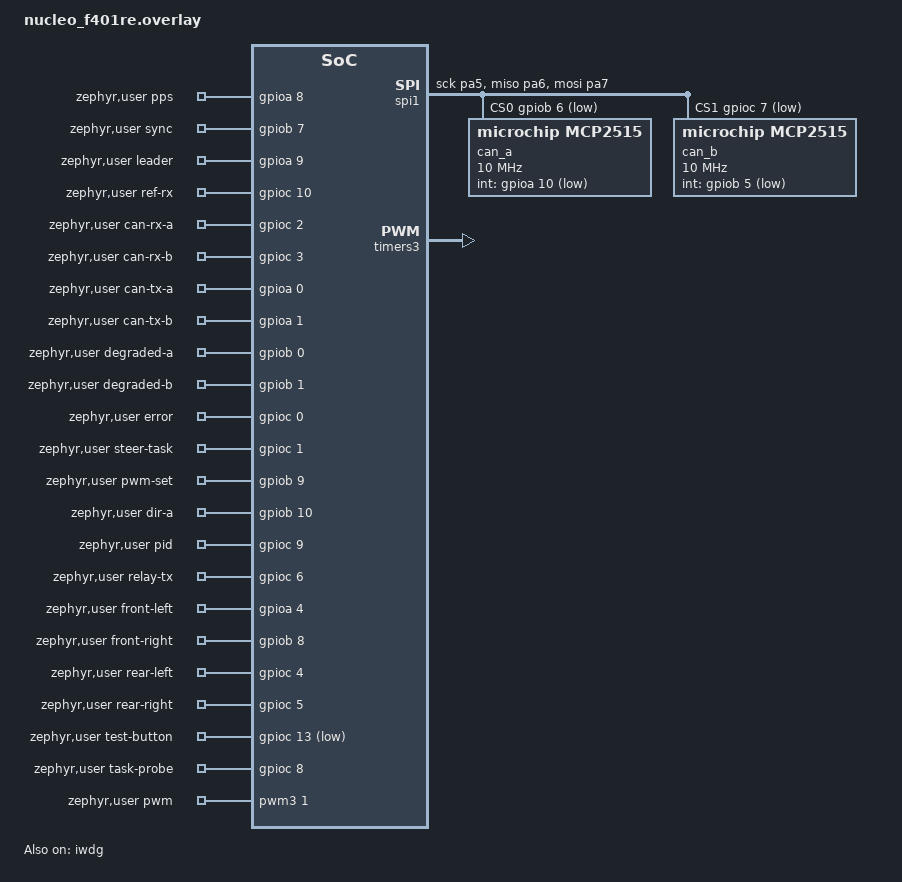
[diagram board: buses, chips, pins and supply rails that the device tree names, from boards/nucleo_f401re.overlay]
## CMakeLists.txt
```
cmake_minimum_required(VERSION 3.28.0)
find_package(Zephyr REQUIRED HINTS $ENV{ZEPHYR_BASE})
project(lab5)
get_filename_component(team_root "${CMAKE_CURRENT_SOURCE_DIR}/../.." ABSOLUTE)
set(lab5 "${team_root}/lab5")
set_property(DIRECTORY APPEND PROPERTY CMAKE_CONFIGURE_DEPENDS "${lab5}/config.json")
execute_process(COMMAND ${PYTHON_EXECUTABLE} "${lab5}/generate_config.py"
    --output "${CMAKE_CURRENT_BINARY_DIR}/lab5_config.h" COMMAND_ERROR_IS_FATAL ANY)
target_include_directories(app PRIVATE "${lab5}/core" "${CMAKE_CURRENT_BINARY_DIR}")
target_sources(app PRIVATE src/lab5_runtime.c "${lab5}/core/lab5.c" "${lab5}/core/clock.c"
    "${lab5}/core/store.c" "${lab5}/core/wire.c" "${lab5}/core/agent.c")
# Reuse the measured baseline's timing instrumentation and workloads, not copies.
set(baseline "${team_root}/lab3_wcet_baseline/lab3_wcet_baseline/stm32_zephyr/src")
target_sources(app PRIVATE src/main.c src/can_protocol.c src/frame_history.c
    src/zone_state.c src/timing_trace.c "${baseline}/timing_stats.c" "${baseline}/timing_probe.c")
target_include_directories(app PRIVATE src "${baseline}")
if(CONFIG_LAB3_ZONE_N3)
    # Lab 2 PID calculation on synthetic samples; no encoder or motor driver.
    set(lab2_pid "${team_root}/bringup/motor_test/src")
    target_sources(app PRIVATE "${baseline}/pid_measurement.c" "${lab2_pid}/velocity_control.c")
    target_include_directories(app PRIVATE "${lab2_pid}")
endif()
if(CONFIG_LAB3_ZONE_N2)
    # Lab 2 calibrated servo mapping from the tracked endpoints.
    set(calibration_file "${team_root}/config/servo_calibration.json")
    set_property(DIRECTORY APPEND PROPERTY CMAKE_CONFIGURE_DEPENDS "${calibration_file}")
    file(READ "${calibration_file}" calibration_json)
    foreach(point LEFT CENTER RIGHT)
        string(TOLOWER "${point}" key)
        string(JSON SERVO_${point}_US GET "${calibration_json}" "${key}_us")
        if(NOT "${SERVO_${point}_US}" MATCHES "^[0-9]+$" OR
           SERVO_${point}_US LESS 500 OR SERVO_${point}_US GREATER 2500)
            message(FATAL_ERROR "Invalid ${key} steering calibration")
        endif()
    endforeach()
    if(NOT ((SERVO_LEFT_US LESS SERVO_CENTER_US AND SERVO_CENTER_US LESS SERVO_RIGHT_US) OR
            (SERVO_LEFT_US GREATER SERVO_CENTER_US AND SERVO_CENTER_US GREATER SERVO_RIGHT_US)))
        message(FATAL_ERROR "Steering center must be between endpoints")
    endif()
    configure_file("${team_root}/stm32_zephyr/src/servo_calibration.h.in"
                   generated/servo_calibration.h @ONLY)
    target_sources(app PRIVATE "${baseline}/steering_measurement.c" "${team_root}/stm32_zephyr/src/servo_core.c")
    target_include_directories(app PRIVATE "${team_root}/stm32_zephyr/src"
                               "${CMAKE_CURRENT_BINARY_DIR}/generated")
endif()
```

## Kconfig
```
mainmenu "Lab 5 time and consensus"
source "Kconfig.zephyr"

config LAB3_ZONE_N2
    bool "Build front steering zone N2"
    help
      SRV servo PWM, front blinkers, FORCE_TX and the RELAY task.

config LAB3_ZONE_N3
    bool "Build rear drivetrain zone N3"
    help
      PWM_OUT motor PWM, DIR_A, PWM_SET, PID workload and rear blinkers.

config LAB3_RELAY
    bool
    default n
    help
      Keep disabled: Lab 5's consensus/discovery relay replaces the Lab 3 relay.

config LAB3_SWAP_CAN_AB
    bool "Logical bus A uses the module on CS PC7 / INT PB5"
    help
      Set for a board whose module A (CS PB6 / INT PA10) is wired to the
      physical bus the other nodes call B. Test points, DEG LEDs and
      heartbeat health bits then follow the physical bus labels.
```

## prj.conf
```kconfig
CONFIG_CAN=y
CONFIG_CAN_INIT_PRIORITY=80
CONFIG_GPIO=y
CONFIG_HWINFO=y
CONFIG_PWM=y
CONFIG_SERIAL=y
CONFIG_CONSOLE=y
CONFIG_UART_CONSOLE=y
CONFIG_PRINTK=y
CONFIG_MAIN_STACK_SIZE=2048
CONFIG_SYSTEM_WORKQUEUE_STACK_SIZE=2048
CONFIG_SYS_CLOCK_TICKS_PER_SEC=10000
CONFIG_CORTEX_M_SYSTICK_64BIT_CYCLE_COUNTER=y
CONFIG_FLASH=y
CONFIG_FLASH_MAP=y
CONFIG_FLASH_LOAD_SIZE=0x40000
CONFIG_POSIX_SYSTEM_INTERFACES=y
CONFIG_POSIX_TIMERS=y
CONFIG_ASSERT=y
# Asserts stay on; spinlock ownership validation alone took about 12% of N3's
# CPU (PC sampling, November 18) with the board about 90% busy, and a 1 s
# traffic burst then starved the watchdog feed.
CONFIG_SPIN_VALIDATE=n
CONFIG_WATCHDOG=y
# Main installs the 1 s timeout; avoid the driver's separate boot-time timeout.
CONFIG_WDT_DISABLE_AT_BOOT=y
CONFIG_SPI=y
# Poll short MCP2515 transfers (measured faster than interrupt mode on Oct 21).
CONFIG_SPI_STM32_INTERRUPT=n
CONFIG_CAN_MCP2515=y
CONFIG_CAN_DEFAULT_BITRATE=500000
# One filter per catalog ID, for each controller.
CONFIG_CAN_MAX_FILTER=8
CONFIG_CAN_MCP2515_INT_THREAD_PRIO=2
CONFIG_SHELL=y
CONFIG_SHELL_STACK_SIZE=2048
CONFIG_THREAD_NAME=y
# Crash reports: register dump plus a logged coredump on the serial console.
CONFIG_FAULT_DUMP=2
CONFIG_DEBUG_COREDUMP=y
CONFIG_DEBUG_COREDUMP_BACKEND_LOGGING=y
CONFIG_DEBUG_COREDUMP_MEMORY_DUMP_MIN=y
CONFIG_LOG_PRINTK=n
```

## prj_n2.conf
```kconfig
CONFIG_LAB3_ZONE_N2=y
```

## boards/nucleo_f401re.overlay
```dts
/* Lab 3 Part 5 demo, shared by N2 and N3. Pin record: doc/LAB3_PINOUT.md.
 * CAN modules: SPI1 PA5/PA6/PA7 (XIAO D8 SCK, D9 MISO, D10 MOSI per the
 * handout erratum); module A CS PB6 / INT PA10, module B CS PC7 / INT PB5.
 * CONFIG_LAB3_SWAP_CAN_AB maps logical bus A to module B for a board whose
 * modules are wired to the opposite physical buses.
 */
#include <zephyr/dt-bindings/gpio/gpio.h>
#include <zephyr/dt-bindings/pwm/pwm.h>

/ {
    aliases { can-a = &can_a; can-b = &can_b; };
    zephyr,user {
        pps-gpios = <&gpioa 8 GPIO_ACTIVE_HIGH>;
        sync-gpios = <&gpiob 7 GPIO_ACTIVE_HIGH>;
        leader-gpios = <&gpioa 9 GPIO_ACTIVE_HIGH>;
        ref-rx-gpios = <&gpioc 10 GPIO_ACTIVE_HIGH>;
        can-rx-a-gpios = <&gpioc 2 GPIO_ACTIVE_HIGH>;
        can-rx-b-gpios = <&gpioc 3 GPIO_ACTIVE_HIGH>;
        can-tx-a-gpios = <&gpioa 0 GPIO_ACTIVE_HIGH>;
        can-tx-b-gpios = <&gpioa 1 GPIO_ACTIVE_HIGH>;
        degraded-a-gpios = <&gpiob 0 GPIO_ACTIVE_HIGH>;
        degraded-b-gpios = <&gpiob 1 GPIO_ACTIVE_HIGH>;
        error-gpios = <&gpioc 0 GPIO_ACTIVE_HIGH>;
        /* STEER task-body marker; the SRV test point is the PB4 PWM below. */
        steer-task-gpios = <&gpioc 1 GPIO_ACTIVE_HIGH>;
        pwm-set-gpios = <&gpiob 9 GPIO_ACTIVE_HIGH>;
        dir-a-gpios = <&gpiob 10 GPIO_ACTIVE_HIGH>;
        /* PB11 does not exist on the LQFP64 package (pin 30 is VCAP1). */
        pid-gpios = <&gpioc 9 GPIO_ACTIVE_HIGH>;
        relay-tx-gpios = <&gpioc 6 GPIO_ACTIVE_HIGH>;
        front-left-gpios = <&gpioa 4 GPIO_ACTIVE_HIGH>;
        front-right-gpios = <&gpiob 8 GPIO_ACTIVE_HIGH>;
        rear-left-gpios = <&gpioc 4 GPIO_ACTIVE_HIGH>;
        rear-right-gpios = <&gpioc 5 GPIO_ACTIVE_HIGH>;
        test-button-gpios = <&gpioc 13 GPIO_ACTIVE_LOW>; /* built-in blue B1 */
        task-probe-gpios = <&gpioc 8 GPIO_ACTIVE_HIGH>;
        /* PB4/D5 TIM3_CH1: SRV servo pulse on N2, PWM_OUT motor PWM on N3.
         * Each zone passes its own period at run time. */
        pwms = <&pwm3 1 PWM_MSEC(20) PWM_POLARITY_NORMAL>;
    };
};

&spi1 {
    status = "okay";
    pinctrl-0 = <&spi1_sck_pa5 &spi1_miso_pa6 &spi1_mosi_pa7>;
    pinctrl-names = "default";
    cs-gpios = <&gpiob 6 (GPIO_ACTIVE_LOW | GPIO_PULL_UP)>,
               <&gpioc 7 (GPIO_ACTIVE_LOW | GPIO_PULL_UP)>;
    can_a: mcp2515@0 {
        compatible = "microchip,mcp2515";
        reg = <0>;
        spi-max-frequency = <10000000>; /* MCP2515 max; SPI1 runs 84 MHz/16 = 5.25 MHz */
        int-gpios = <&gpioa 10 GPIO_ACTIVE_LOW>;
        osc-freq = <16000000>;
        status = "okay";
    };
    can_b: mcp2515@1 {
        compatible = "microchip,mcp2515";
        reg = <1>;
        spi-max-frequency = <10000000>;
        int-gpios = <&gpiob 5 GPIO_ACTIVE_LOW>;
        osc-freq = <16000000>;
        status = "okay";
    };
};

/* 84 MHz / (83 + 1) = 1 us ticks: 20000 per servo period, 100 per 10 kHz motor period. */
&timers3 {
    status = "okay";
    st,prescaler = <83>;
    pwm3: pwm {
        status = "okay";
        pinctrl-0 = <&tim3_ch1_pb4>;
        pinctrl-names = "default";
    };
};

/* Board defaults that claim Lab 3 pins: USART1 PB6 (CAN A CS), I2C1 PB8/PB9
 * (FR LED, PWM_SET), I2C3 PA8/PC9 (PID marker), TIM2 PWM PA5 (SPI SCK). */
&usart1 { status = "disabled"; };
&i2c1 { status = "disabled"; };
&i2c3 { status = "disabled"; };
&timers2 { status = "disabled"; };

&iwdg { status = "okay"; };

/* Upper two 128 KiB sectors hold the 30,000-entry two-bank Raft journal.
 * Linker limit prevents firmware from overlapping it. No mass erase on rejoin. */
&flash0 {
    partitions {
        compatible = "fixed-partitions";
        #address-cells = <1>;
        #size-cells = <1>;
        lab5_storage: partition@40000 {
            label = "lab5-raft";
            reg = <0x40000 0x40000>;
        };
    };
};
```

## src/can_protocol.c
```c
/* Lab 3 CAN payload serialization and CRC-8/ATM. Do not send C structs directly. */
#include "can_protocol.h"
#include <string.h>

uint8_t lab3_crc8(const uint8_t *data, unsigned length) {
    uint8_t crc = 0;
    for (unsigned i = 0; i < length; ++i) {
        crc ^= data[i];
        for (unsigned bit = 0; bit < 8; ++bit)
            crc = (crc & 0x80U) ? (uint8_t)((crc << 1) ^ 0x07U) : (uint8_t)(crc << 1);
    }
    return crc;
}

bool lab3_frame_valid(const struct can_frame *frame) {
    return frame && !(frame->flags & (CAN_FRAME_IDE | CAN_FRAME_RTR | CAN_FRAME_FDF)) &&
           frame->dlc == 8 && lab3_crc8(frame->data, 7) == frame->data[7];
}

void lab3_seal(struct can_frame *frame) {
    frame->dlc = 8;
    frame->data[7] = lab3_crc8(frame->data, 7);
}

static void start(struct can_frame *f, uint32_t id) {
    memset(f, 0, sizeof(*f));
    f->id = id;
    f->dlc = 8;
}

void lab3_pack_heartbeat(struct can_frame *f, uint32_t id, uint8_t state, bool a, bool b) {
    start(f, id);
    f->data[1] = state;
    f->data[2] = (a ? 1 : 0) | (b ? 2 : 0);
}

void lab3_pack_fault(struct can_frame *f, uint8_t failing_zone, enum fault_reason reason,
                     uint8_t reporter) {
    start(f, ID_FAULT);
    f->data[1] = failing_zone;
    f->data[2] = (uint8_t)reason;
    f->data[3] = reporter;
}

void lab3_pack_force(struct can_frame *f, int8_t counter) {
    start(f, ID_FORCE);
    f->data[1] = (uint8_t)counter;
}

bool lab3_ctrl_decode(const struct can_frame *f, struct lab3_ctrl *out) {
    /* b0 seq/flags, b1..2 steer LE, b3 throttle %, b4 brake %, b5 buttons, b6 reserved. */
    if ((f->data[0] >> 4) != CTRL_FLAGS || f->data[6] != 0 || f->data[3] > 100 || f->data[4] > 100)
        return false;
    out->steer = (int16_t)(f->data[1] | (f->data[2] << 8));
    out->throttle = f->data[3];
    out->brake = f->data[4];
    out->buttons = f->data[5];
    return true;
}

uint8_t lab3_heartbeat_zone(uint32_t id) {
    switch (id) {
    case ID_HB_N1:
        return ZONE_N1;
    case ID_HB_N2:
        return ZONE_N2;
    case ID_HB_N3:
        return ZONE_N3;
    default:
        return 0;
    }
}

uint8_t lab3_frame_origin(const struct can_frame *f) {
    switch (f->id) {
    case ID_CTRL:
    case ID_BLINK:
    case ID_HB_N1:
        return ZONE_N1;
    case ID_HB_N2:
    case ID_FORCE:
        return ZONE_N2;
    case ID_HB_N3:
        return ZONE_N3;
    case ID_FAULT:
        return f->data[3] >= ZONE_N1 && f->data[3] <= ZONE_N3 ? f->data[3] : 0;
    default:
        return 0;
    }
}

uint8_t lab3_dedup_source(const struct can_frame *f) { return f->id == ID_FAULT ? f->data[3] : 0; }
```

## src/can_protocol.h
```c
#ifndef LAB3_DEMO_CAN_PROTOCOL_H
#define LAB3_DEMO_CAN_PROTOCOL_H
/* Lab 3 template catalog wire format; pi/can_protocol.py is the other half.
 * Standard IDs, DLC 8. Byte 0: low nibble per-ID sequence, high nibble flags.
 * Byte 7: CRC-8/ATM (poly 0x07, init 0) over bytes 0..6. */
#include <stdbool.h>
#include <stdint.h>
#include <zephyr/drivers/can.h>

#define ID_CTRL 0x010
#define ID_FAULT 0x020
#define ID_HB_N1 0x100
#define ID_HB_N2 0x101
#define ID_HB_N3 0x102
#define ID_BLINK 0x200
#define ID_FORCE 0x300
#define ZONE_N1 1
#define ZONE_N2 2
#define ZONE_N3 3
#define STATE_ERROR 0
#define STATE_OK 1
#define BLINK_OFF 0
#define BLINK_LEFT 1
#define BLINK_RIGHT 2
#define BLINK_HAZARD 3
#define CTRL_FLAGS 1 /* required high nibble of CTRL byte 0 */

/* FAULT byte 2. Clear releases every latch; ZONE_LOST is informational because
 * each receiver detects heartbeat loss itself and must recover without a clear. */
enum fault_reason {
    FAULT_CLEAR = 0,
    FAULT_TEST_BUTTON = 1,
    FAULT_BAD_CRC = 2,
    FAULT_BAD_CTRL = 3,
    FAULT_ZONE_LOST = 4,
};

/* Team-defined CTRL value ranges: steering is any int16; pedals are 0..100 %. */
struct lab3_ctrl {
    int16_t steer;
    uint8_t throttle, brake, buttons;
};

uint8_t lab3_crc8(const uint8_t *data, unsigned length);
/* Standard data frame, DLC 8 and matching CRC. */
bool lab3_frame_valid(const struct can_frame *frame);
void lab3_seal(struct can_frame *frame);
/* Builders leave the sequence nibble zero; the send helper assigns it and seals. */
void lab3_pack_heartbeat(struct can_frame *frame, uint32_t id, uint8_t state, bool bus_a_ok,
                         bool bus_b_ok);
/* FAULT bytes 1..3: failing zone, reason, reporting zone. */
void lab3_pack_fault(struct can_frame *frame, uint8_t failing_zone, enum fault_reason reason,
                     uint8_t reporter);
void lab3_pack_force(struct can_frame *frame, int8_t counter);
/* Decodes a CRC-valid CTRL; false when any field is outside the values table. */
bool lab3_ctrl_decode(const struct can_frame *frame, struct lab3_ctrl *out);
/* Zone whose heartbeat this ID is, or 0. */
uint8_t lab3_heartbeat_zone(uint32_t id);
/* Zone that originated this frame (FAULT: reporter), or 0 when unknown. */
uint8_t lab3_frame_origin(const struct can_frame *frame);
/* FAULT has several senders with independent sequence counters. */
uint8_t lab3_dedup_source(const struct can_frame *frame);
#endif
```

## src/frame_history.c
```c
#include "frame_history.h"

static bool same(struct frame_key a, struct frame_key b) {
    return a.id == b.id && a.source == b.source && a.seq == b.seq;
}
static bool live(const struct frame_record *r, uint32_t now) {
    return r->valid && (uint32_t)(now - r->first_ms) <= FRAME_HISTORY_MS;
}
enum frame_observation frame_observe(struct frame_history *h, struct frame_key key, unsigned bus,
                                     uint32_t received_ms) {
    struct frame_record *free_slot = 0;
    if (bus > 1)
        return FRAME_HISTORY_FULL;
    for (unsigned i = 0; i < FRAME_HISTORY_SIZE; ++i) {
        struct frame_record *r = &h->records[i];
        if (!live(r, received_ms)) {
            if (!free_slot)
                free_slot = r;
        } else if (same(r->key, key)) {
            r->seen_buses |= (uint8_t)(1U << bus);
            /* Do not extend expiry on a duplicate: repeats cannot keep a key
             * alive forever and suppress a new sequence generation. */
            return FRAME_DUPLICATE;
        }
    }
    /* Never evict live history to make room: that could re-admit a duplicate. */
    if (!free_slot)
        return FRAME_HISTORY_FULL;
    *free_slot = (struct frame_record){
        .key = key, .first_ms = received_ms, .seen_buses = (uint8_t)(1U << bus), .valid = true};
    return FRAME_NEW;
}
enum relay_claim frame_claim_relay(struct frame_history *h, struct frame_key key,
                                   unsigned incoming_bus, uint32_t first_ms, uint32_t now_ms) {
    if (incoming_bus > 1)
        return RELAY_STALE;
    const uint8_t destination = (uint8_t)(1U << (incoming_bus ^ 1U));
    for (unsigned i = 0; i < FRAME_HISTORY_SIZE; ++i) {
        struct frame_record *r = &h->records[i];
        if (!live(r, now_ms) || !same(r->key, key) || r->first_ms != first_ms)
            continue;
        if ((r->seen_buses | r->attempted_buses) & destination)
            return RELAY_SUPPRESS;
        r->attempted_buses |= destination;
        return RELAY_SEND;
    }
    /* Do not forward an expired queue entry using a newer generation's record. */
    return RELAY_STALE;
}
```

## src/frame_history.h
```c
#ifndef LAB3_FRAME_HISTORY_H
#define LAB3_FRAME_HISTORY_H
#include <stdbool.h>
#include <stdint.h>

/* Ported from Tianyi's lab3-relay-immediate branch (commit a146752).
 *
 * Duplicate lifetime, NOT a wait before forwarding. It must exceed the worst
 * skew between the A copy, the B copy and a relayed copy (the measured Pi gap
 * between its can0 and can1 writes reaches 2.6 ms) and stay below the 320 ms
 * reuse time of a 4-bit sequence at 20 ms. Every catalog payload is idempotent,
 * so a copy that arrives after expiry is re-applied harmlessly.
 */
#define FRAME_HISTORY_MS 20U
#define FRAME_HISTORY_SIZE 32U
struct frame_key {
    uint16_t id;
    uint8_t source, seq;
};
struct frame_record {
    struct frame_key key;
    uint32_t first_ms;
    uint8_t seen_buses, attempted_buses;
    bool valid;
};
struct frame_history {
    struct frame_record records[FRAME_HISTORY_SIZE];
};
enum frame_observation { FRAME_NEW, FRAME_DUPLICATE, FRAME_HISTORY_FULL };
enum relay_claim { RELAY_SEND, RELAY_SUPPRESS, RELAY_STALE };

/* Caller serializes all access. Only validated catalog frames may enter.
 * A same-bus repeat inside the lifetime is a relayed copy and is dropped; after
 * the lifetime the same (ID, seq) is a new message. */
enum frame_observation frame_observe(struct frame_history *h, struct frame_key key, unsigned bus,
                                     uint32_t received_ms);
/* Claim at most one attempt on the opposite bus. No heartbeat state is used.
 * first_ms is the original receive timestamp carried with the queued frame.
 * A known opposite-bus copy suppresses the send. */
enum relay_claim frame_claim_relay(struct frame_history *h, struct frame_key key,
                                   unsigned incoming_bus, uint32_t first_ms, uint32_t now_ms);
#endif
```

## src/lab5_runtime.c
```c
#include "lab5_runtime.h"
#include "agent.h"
#include "lab5.h"
#include "lab5_config.h"
#include "store.h"
#include <string.h>
#include <time.h>
#include <zephyr/drivers/flash.h>
#include <zephyr/drivers/gpio.h>
#include <zephyr/kernel.h>
#include <zephyr/shell/shell.h>
#include <zephyr/shell/shell_uart.h>
#include <zephyr/storage/flash_map.h>
#include <zephyr/sys/printk.h>

static struct l5_raft raft;
static struct l5_store store;
static struct l5_clock net_clock;
static struct l5_wire wire;
static struct l5_agent agent;
static const struct flash_area *area;
static void (*send_frame)(unsigned, const struct can_frame *);
K_MUTEX_DEFINE(raft_lock);
/* Copy of the clock and hazard rate for the blink thread. Protocol work holds
 * raft_lock for milliseconds (measured: lamp edges up to 2.2 ms late while the
 * blink thread waited for it), so the lamps read this copy under a spinlock
 * held only for the copy. Refreshed by publish_blink() with raft_lock held. */
static struct k_spinlock blink_snap_lock;
static struct l5_clock blink_clock;
static unsigned blink_hazard_hz = 2;
void lab5_console_print(const char *format, ...) {
    va_list args;
    va_start(args, format);
    /* Use the shell's UART writer for both diagnostics and command output.
     * A separate printk mutex cannot serialize against shell echo/prompt TX.
     * Only startup messages use printk before the shell becomes active. */
    const struct shell *sh = shell_backend_uart_get_ptr();
    if (shell_ready(sh))
        shell_vfprintf(sh, SHELL_NORMAL, format, args);
    else
        vprintk(format, args);
    va_end(args);
}
K_SEM_DEFINE(ready, 0, 1);
K_MSGQ_DEFINE(applied_queue, 8, 128, 4);
struct pps_row {
    uint64_t global, raw;
    int64_t rate_ppb, correction, phase_err;
    uint8_t node;
};
K_MSGQ_DEFINE(pps_queue, sizeof(struct pps_row), 4, 8);
struct debug_row {
    uint16_t term, index, commit;
    uint8_t type, src, dst, role, leader, failed;
};
K_MSGQ_DEFINE(debug_queue, sizeof(struct debug_row), 64, 4);
struct health_row {
    uint64_t raw;
    uint32_t age[3];
    unsigned reasons, node;
};
K_MSGQ_DEFINE(health_queue, sizeof(struct health_row), 16, 8);
struct log_row {
    uint16_t index, term;
    uint8_t event, replay, pad[2];
};
static uint32_t log_drops;
static const struct gpio_dt_spec pps = GPIO_DT_SPEC_GET(DT_PATH(zephyr_user), pps_gpios);
static const struct gpio_dt_spec leader_pin = GPIO_DT_SPEC_GET(DT_PATH(zephyr_user), leader_gpios);
static const struct gpio_dt_spec sync_pin = GPIO_DT_SPEC_GET(DT_PATH(zephyr_user), sync_gpios);
static const struct gpio_dt_spec ref_pin = GPIO_DT_SPEC_GET(DT_PATH(zephyr_user), ref_rx_gpios);
uint64_t lab5_raw_us(void) { return k_cyc_to_us_floor64(k_cycle_get_64()); }
static bool flash_read_cb(void *ctx, uint32_t off, void *p, size_t n) {
    ARG_UNUSED(ctx);
    return flash_area_read(area, off, p, n) == 0;
}
static bool flash_write_cb(void *ctx, uint32_t off, const void *p, size_t n) {
    ARG_UNUSED(ctx);
    return flash_area_write(area, off, p, n) == 0;
}
static bool flash_erase_cb(void *ctx, unsigned bank) {
    ARG_UNUSED(ctx);
    return flash_area_erase(area, bank * L5_BANK_SIZE, L5_BANK_SIZE) == 0;
}
static bool read_entry(void *ctx, uint16_t i, struct l5_entry *e) {
    ARG_UNUSED(ctx);
    return l5_store_read(&store, i, e);
}
static bool append_entry(void *ctx, struct l5_entry e) {
    ARG_UNUSED(ctx);
    return l5_store_append(&store, e);
}
static bool truncate_entries(void *ctx, uint16_t i) {
    ARG_UNUSED(ctx);
    return l5_store_truncate(&store, i);
}
static bool hard_state(void *ctx, uint16_t t, uint8_t v) {
    ARG_UNUSED(ctx);
    return l5_store_hardstate(&store, t, v);
}
static void send_packet(void *ctx, unsigned bus, const struct l5_packet *p) {
    ARG_UNUSED(ctx);
    struct can_frame f = {.id = p->id, .dlc = 8};
    memcpy(f.data, p->data, 8);
    if (p->id == 0x80U + raft.id) {
        /* A durable operation in this tick may have delayed REF creation.
         * Stamp our own reference at enqueue time; preserve relayed origins. */
        uint32_t stamp = (uint32_t)l5_global(&net_clock, lab5_raw_us());
        for (unsigned i = 0; i < 4; i++)
            f.data[3 + i] = (uint8_t)(stamp >> (8 * i));
        f.data[7] = l5_crc(f.data, 7);
    }
    if (send_frame)
        send_frame(bus, &f);
}
static void send_rpc(void *ctx, const struct l5_rpc *m) {
    ARG_UNUSED(ctx);
    l5_agent_rpc(&agent, m);
    if (L5_CFG_DEBUG) {
        struct debug_row row = {m->term, m->index,  m->commit,   m->type,    m->src,
                                m->dst,  raft.role, raft.leader, raft.failed};
        if (k_msgq_put(&debug_queue, &row, K_NO_WAIT))
            log_drops++;
    }
}
static void on_apply(void *ctx, uint16_t i, struct l5_entry e, bool replay) {
    ARG_UNUSED(ctx);
    struct log_row row = {.index = i, .term = e.term, .event = e.event, .replay = replay};
    if (k_msgq_put(&applied_queue, &row, K_NO_WAIT))
        log_drops++;
}
int lab5_runtime_init(unsigned id, void (*send)(unsigned, const struct can_frame *)) {
    send_frame = send;
    int rc = flash_area_open(FIXED_PARTITION_ID(lab5_storage), &area);
    if (rc)
        return rc;
    if (area->fa_size != L5_STORE_SIZE)
        return -EINVAL;
    struct l5_flash_io flash = {NULL, flash_read_cb, flash_write_cb, flash_erase_cb};
    if (!l5_store_open(&store, flash))
        return -EIO;
    /* Sector erases stall this single-bank MCU. Reclaim obsolete entries and
     * full journals only before tasks/watchdog start; runtime store updates
     * program fresh words and preserve the same logical entries/term/vote. */
    uint32_t generation = store.generation;
    if (!l5_store_prepare_boot(&store))
        return -EIO;
    if (store.generation != generation)
        lab5_console_print("STORE boot_compaction preserved term=%u vote=%u entries=%u\n",
               store.term, store.vote, store.length);
    const struct gpio_dt_spec *pins[] = {&pps, &leader_pin, &sync_pin, &ref_pin};
    for (unsigned i = 0; i < ARRAY_SIZE(pins); i++) {
        if (!gpio_is_ready_dt(pins[i]))
            return -ENODEV;
        rc = gpio_pin_configure_dt(pins[i], GPIO_OUTPUT_INACTIVE);
        if (rc)
            return rc;
    }
    l5_clock_init(&net_clock, lab5_raw_us());
    l5_agent_init(&agent, &raft, &net_clock, &wire, NULL, send_packet, L5_CFG_CAN_DELAY_US);
    blink_clock = net_clock;
    struct l5_config cfg = {L5_CFG_HEARTBEAT_MS, L5_CFG_APPEND_MS, L5_CFG_MISSED_HEARTBEATS,
                            L5_CFG_JITTER_MS,    L5_CFG_CAPACITY,  L5_CFG_DEFAULT_LEADER,
                            L5_CFG_SEED,         L5_CFG_DEBUG};
    struct l5_io io = {NULL,       read_entry, append_entry, truncate_entries,
                       hard_state, send_rpc,   on_apply};
    return l5_init(&raft, id, cfg, io, store.term, store.vote, store.length, lab5_raw_us() / 1000)
               ? 0
               : -EIO;
}
void lab5_ready(void) { k_sem_give(&ready); }
/* The PPS pin, driven from the lamp-edge thread so the pulse lands on the
 * whole second; this file's protocol thread only logs the PPS row. */
void lab5_pps_set(bool on) { gpio_pin_set_dt(&pps, on); }
static void publish_blink(void) {
    unsigned hz = l5_agent_hazard_hz(&agent, lab5_raw_us());
    k_spinlock_key_t key = k_spin_lock(&blink_snap_lock);
    blink_clock = net_clock;
    blink_hazard_hz = hz;
    k_spin_unlock(&blink_snap_lock, key);
}
/* Global time for lamp phase, plus the current hazard rate, without raft_lock.
 * The caller keeps its own monotonic guard; see blink_thread. */
uint64_t lab5_blink_time(unsigned *hazard_hz) {
    k_spinlock_key_t key = k_spin_lock(&blink_snap_lock);
    struct l5_clock c = blink_clock;
    *hazard_hz = blink_hazard_hz;
    k_spin_unlock(&blink_snap_lock, key);
    return l5_global(&c, lab5_raw_us());
}
void lab5_pause(bool paused) {
    k_mutex_lock(&raft_lock, K_FOREVER);
    agent.paused = paused;
    k_mutex_unlock(&raft_lock);
}
bool lab5_runtime_receive(unsigned bus, const struct can_frame *f, uint64_t raw) {
    if (f->flags & (CAN_FRAME_IDE | CAN_FRAME_RTR) || f->dlc != 8)
        return false;
    struct l5_packet p = {.id = (uint16_t)f->id};
    memcpy(p.data, f->data, 8);
    k_mutex_lock(&raft_lock, K_FOREVER);
    uint32_t samples = net_clock.samples;
    uint64_t processed = lab5_raw_us();
    uint32_t delay = agent.delay_us;
    agent.delay_us += (uint32_t)(processed - raw);
    bool used = l5_agent_receive(&agent, bus, &p, processed);
    agent.delay_us = delay;
    if (net_clock.samples != samples) {
        gpio_pin_toggle_dt(&ref_pin);
        uint64_t global = l5_global(&net_clock, lab5_raw_us());
        struct timespec t = {.tv_sec = (time_t)(global / 1000000),
                             .tv_nsec = (long)(global % 1000000) * 1000};
        (void)clock_settime(CLOCK_REALTIME, &t); /* uptime/cycle clock is unchanged */
        publish_blink(); /* the clock moved; other changes reach the lamps via protocol_thread */
    }
    k_mutex_unlock(&raft_lock);
    return used;
}
uint64_t lab5_global_us(void) {
    k_mutex_lock(&raft_lock, K_FOREVER);
    uint64_t t = l5_global(&net_clock, lab5_raw_us());
    k_mutex_unlock(&raft_lock);
    return t;
}
uint64_t global_gettime(void) { return lab5_global_us(); }
bool lab5_error(void) {
    k_mutex_lock(&raft_lock, K_FOREVER);
    bool e = l5_agent_error(&agent, lab5_raw_us());
    k_mutex_unlock(&raft_lock);
    return e;
}
unsigned lab5_hazard_hz(void) {
    k_mutex_lock(&raft_lock, K_FOREVER);
    unsigned hz = l5_agent_hazard_hz(&agent, lab5_raw_us());
    k_mutex_unlock(&raft_lock);
    return hz;
}
static void protocol_thread(void *a, void *b, void *c) {
    ARG_UNUSED(a);
    ARG_UNUSED(b);
    ARG_UNUSED(c);
    k_sem_take(&ready, K_FOREVER);
    uint64_t last_second = 0;
    uint16_t previous_term = 0;
    uint8_t previous_role = 255;
    unsigned previous_health = UINT32_MAX;
    while (true) {
        k_mutex_lock(&raft_lock, K_FOREVER);
        /* Reception can move the clock anchor while this task waits. Read raw
         * only after acquiring ownership, then refresh after durable writes. */
        uint64_t raw = lab5_raw_us();
        agent.upstream_ok = true;
        l5_agent_tick(&agent, raw);
        raw = lab5_raw_us();
        unsigned reasons = l5_agent_error_reason(&agent, raw);
        if (reasons != previous_health) {
            struct health_row h = {.raw = raw, .reasons = reasons, .node = raft.id};
            for (unsigned n = 1; n <= 3; n++)
                h.age[n - 1] = l5_agent_report_age(&agent, n, raw);
            if (k_msgq_put(&health_queue, &h, K_NO_WAIT))
                log_drops++;
            previous_health = reasons;
        }
        uint64_t global = l5_global(&net_clock, raw);
        gpio_pin_set_dt(&leader_pin, raft.role == L5_LEADER && !agent.paused && !raft.failed);
        gpio_pin_set_dt(&sync_pin, l5_agent_synced(&agent, raw));
        if (global / 1000000 != last_second) {
            last_second = global / 1000000;
            struct pps_row row = {
                .global = global,
                .raw = raw,
                .rate_ppb = (int64_t)((net_clock.rate - 1.0) * 1e9),
                .correction = (int64_t)((raw - net_clock.local_anchor) * (net_clock.rate - 1.0)),
                .phase_err = net_clock.last_error,
                .node = raft.id};
            if (k_msgq_put(&pps_queue, &row, K_NO_WAIT))
                log_drops++;
        }
        if (raft.term != previous_term || raft.role != previous_role) {
            struct debug_row row = {raft.term, raft.length, raft.commit, 0,          raft.id,
                                    0,         raft.role,   raft.leader, raft.failed};
            if (k_msgq_put(&debug_queue, &row, K_NO_WAIT))
                log_drops++;
            previous_term = raft.term;
            previous_role = raft.role;
        }
        publish_blink();
        k_mutex_unlock(&raft_lock);
        k_sleep(K_USEC(200));
    }
}
K_THREAD_DEFINE(protocol_tid, 3072, protocol_thread, NULL, NULL, NULL, 2, 0, 0);
static void log_thread(void *a, void *b, void *c) {
    ARG_UNUSED(a);
    ARG_UNUSED(b);
    ARG_UNUSED(c);
    struct log_row row;
    while (true) {
        if (!k_msgq_get(&applied_queue, &row, K_MSEC(10)))
            lab5_console_print("COMMIT index=%u term=%u event=%s replayed=%u\n", row.index, row.term,
                   l5_event_name(row.event), row.replay);
        struct pps_row p;
        while (!k_msgq_get(&pps_queue, &p, K_NO_WAIT))
            lab5_console_print("PPS node=%u global_us=%llu local_us=%llu rate_ppb=%lld correction_us=%lld "
                   "phase_err_us=%lld\n",
                   p.node, (unsigned long long)p.global, (unsigned long long)p.raw,
                   (long long)p.rate_ppb, (long long)p.correction, (long long)p.phase_err);
        struct debug_row d;
        struct health_row h;
        for (unsigned i = 0; i < 4 && !k_msgq_get(&health_queue, &h, K_NO_WAIT); i++)
            lab5_console_print("HEALTH node=%u local_us=%llu reasons=0x%x "
                               "report_age_ms=%u,%u,%u log_drops=%u\n",
                               h.node, (unsigned long long)h.raw, h.reasons,
                               h.age[0], h.age[1], h.age[2], log_drops);
        /* A debug burst must not postpone committed entries indefinitely. */
        for (unsigned i = 0; i < 8 && !k_msgq_get(&debug_queue, &d, K_NO_WAIT); i++)
            lab5_console_print("RAFT type=%u src=%u dst=%u term=%u index=%u commit=%u role=%u leader=%u "
                   "failed=%u log_drops=%u\n",
                   d.type, d.src, d.dst, d.term, d.index, d.commit, d.role, d.leader, d.failed,
                   log_drops);
    }
}
K_THREAD_DEFINE(log_tid, 1024, log_thread, NULL, NULL, NULL, 11, 0, 0);
/* Part 6.3: periodically sample global_gettime() and report the drift error
 * currently being corrected. Runs below the protocol and log threads. It does
 * not wait on `ready` (a binary semaphore owned by protocol_thread); the start
 * delay and the synced check cover startup instead. */
static void drift_thread(void *a, void *b, void *c) {
    ARG_UNUSED(a);
    ARG_UNUSED(b);
    ARG_UNUSED(c);
    while (true) {
        k_sleep(K_MSEC(1000));
        uint64_t global = global_gettime(); /* takes raft_lock itself */
        k_mutex_lock(&raft_lock, K_FOREVER);
        bool synced = net_clock.synced;
        uint64_t raw = lab5_raw_us();
        int64_t phase_err = net_clock.last_error;
        int64_t rate_ppb = (int64_t)((net_clock.rate - 1.0) * 1e9);
        int64_t correction = (int64_t)((raw - net_clock.local_anchor) * (net_clock.rate - 1.0));
        uint32_t samples = net_clock.samples;
        uint8_t node = raft.id;
        k_mutex_unlock(&raft_lock);
        if (!synced)
            continue;
        lab5_console_print("DRIFT node=%u global_us=%llu phase_err_us=%lld rate_ppb=%lld "
                           "correction_us=%lld samples=%u\n",
                           node, (unsigned long long)global, (long long)phase_err,
                           (long long)rate_ppb, (long long)correction, samples);
    }
}
K_THREAD_DEFINE(drift_tid, 1536, drift_thread, NULL, NULL, NULL, 12, 0, 1000);
static int network_cmd(const struct shell *sh, size_t argc, char **argv) {
    ARG_UNUSED(sh);
    ARG_UNUSED(argc);
    ARG_UNUSED(argv);
    k_mutex_lock(&raft_lock, K_FOREVER);
    uint8_t node = raft.id, leader = raft.leader;
    uint16_t term = raft.term, commit = raft.commit;
    struct l5_graph graph = raft.graph;
    k_mutex_unlock(&raft_lock);
    lab5_console_print(
                "NETWORK node=%u term=%u leader=%u commit=%u nodes=0x%x links=0x%x cockpit_ok=%u\n",
                node, term, leader, commit, graph.nodes, graph.links, graph.cockpit_ok);
    return 0;
}
static int log_cmd(const struct shell *sh, size_t argc, char **argv) {
    ARG_UNUSED(sh);
    ARG_UNUSED(argc);
    ARG_UNUSED(argv);
    k_mutex_lock(&raft_lock, K_FOREVER);
    uint16_t end = raft.commit;
    uint8_t node = raft.id;
    k_mutex_unlock(&raft_lock);
    lab5_console_print("LOG_BEGIN node=%u through_index=%u\n", node, end);
    /* Committed entries are immutable. Snapshot the end once and copy each
     * entry under the lock, but never hold it across slow UART output. This
     * also permits a storage-bank switch between reads without racing one. */
    for (uint16_t i = 1; i <= end; i++) {
        struct l5_entry e;
        k_mutex_lock(&raft_lock, K_FOREVER);
        bool ok = l5_store_read(&store, i, &e);
        k_mutex_unlock(&raft_lock);
        if (!ok) {
            lab5_console_print("LOG_ERROR node=%u index=%u through_index=%u\n", node, i, end);
            return -EIO;
        }
        lab5_console_print("LOG index=%u term=%u event=%s\n", i, e.term, l5_event_name(e.event));
    }
    lab5_console_print("LOG_END node=%u through_index=%u entries=%u\n", node, end, end);
    return 0;
}
static int event_cmd(const struct shell *sh, size_t argc, char **argv) {
    ARG_UNUSED(sh);
    ARG_UNUSED(argc);
    ARG_UNUSED(argv);
    k_mutex_lock(&raft_lock, K_FOREVER);
    bool queued = l5_user_event(&raft);
    k_mutex_unlock(&raft_lock);
    lab5_console_print("EVENT %s\n",
                queued ? "queued; wait for COMMIT"
                       : "not queued: no leader, catching up, or storage full");
    return queued ? 0 : -EAGAIN;
}
SHELL_STATIC_SUBCMD_SET_CREATE(
    lab5_sub, SHELL_CMD(network, NULL, "Committed getNetwork snapshot", network_cmd),
    SHELL_CMD(log, NULL, "Dump committed log (use while idle)", log_cmd),
    SHELL_CMD(event, NULL, "Queue one replicated EVENT from this node", event_cmd),
    SHELL_SUBCMD_SET_END);
SHELL_CMD_REGISTER(lab5, &lab5_sub, "Lab 5 consensus diagnostics", NULL);
```

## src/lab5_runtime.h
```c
#ifndef LAB5_RUNTIME_H
#define LAB5_RUNTIME_H
#include <zephyr/drivers/can.h>
#include <zephyr/toolchain.h>
/* Thread-only console output; never called from CAN/protocol hot paths. */
__printf_like(1, 2) void lab5_console_print(const char *format, ...);
int lab5_runtime_init(unsigned id, void (*send)(unsigned, const struct can_frame *));
bool lab5_runtime_receive(unsigned bus, const struct can_frame *, uint64_t raw_us);
uint64_t lab5_raw_us(void);
uint64_t lab5_global_us(void);
/* Part 6.3: drift-adjusted global time in microseconds. */
uint64_t global_gettime(void);
uint64_t lab5_blink_time(unsigned *hazard_hz);
void lab5_pps_set(bool on);
bool lab5_error(void);
unsigned lab5_hazard_hz(void);
void lab5_pause(bool paused);
void lab5_ready(void);
#endif
```

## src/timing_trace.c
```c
/* GPIO LEDs and test points; every pin starts inactive (low). */
#include "timing_trace.h"
#include <errno.h>
#include <zephyr/devicetree.h>
#include <zephyr/drivers/gpio.h>
#include <zephyr/sys/atomic.h>
#include <zephyr/sys/util.h>

#define USER DT_PATH(zephyr_user)
static const struct gpio_dt_spec pins[] = {
    [TP_CAN_RX_A] = GPIO_DT_SPEC_GET(USER, can_rx_a_gpios),
    [TP_CAN_RX_B] = GPIO_DT_SPEC_GET(USER, can_rx_b_gpios),
    [TP_CAN_TX_A] = GPIO_DT_SPEC_GET(USER, can_tx_a_gpios),
    [TP_CAN_TX_B] = GPIO_DT_SPEC_GET(USER, can_tx_b_gpios),
    [TP_DEG_A] = GPIO_DT_SPEC_GET(USER, degraded_a_gpios),
    [TP_DEG_B] = GPIO_DT_SPEC_GET(USER, degraded_b_gpios),
    [TP_ERR] = GPIO_DT_SPEC_GET(USER, error_gpios),
    [TP_STEER] = GPIO_DT_SPEC_GET(USER, steer_task_gpios),
    [TP_PWM_SET] = GPIO_DT_SPEC_GET(USER, pwm_set_gpios),
    [TP_DIR_A] = GPIO_DT_SPEC_GET(USER, dir_a_gpios),
    [TP_PID] = GPIO_DT_SPEC_GET(USER, pid_gpios),
    [TP_FL] = GPIO_DT_SPEC_GET(USER, front_left_gpios),
    [TP_FR] = GPIO_DT_SPEC_GET(USER, front_right_gpios),
    [TP_RL] = GPIO_DT_SPEC_GET(USER, rear_left_gpios),
    [TP_RR] = GPIO_DT_SPEC_GET(USER, rear_right_gpios),
    [TP_RELAY_TX] = GPIO_DT_SPEC_GET(USER, relay_tx_gpios),
    [TP_TASK_PROBE] = GPIO_DT_SPEC_GET(USER, task_probe_gpios),
};
/* Toggles come from several threads; one atomic bit per pin keeps levels consistent. */
static atomic_t levels;

int lab3_trace_init(void) {
    for (unsigned i = 0; i < ARRAY_SIZE(pins); ++i) {
        if (!gpio_is_ready_dt(&pins[i]))
            return -ENODEV;
        int rc = gpio_pin_configure_dt(&pins[i], GPIO_OUTPUT_INACTIVE);
        if (rc)
            return rc;
    }
    return 0;
}

void lab3_trace_toggle(unsigned i) {
    if (i >= ARRAY_SIZE(pins))
        return;
    bool was = (atomic_xor(&levels, BIT(i)) & BIT(i)) != 0;
    (void)gpio_pin_set_dt(&pins[i], !was);
}

void lab3_trace_set(unsigned i, int active) {
    if (i >= ARRAY_SIZE(pins))
        return;
    atomic_set_bit_to(&levels, i, active);
    (void)gpio_pin_set_dt(&pins[i], !!active);
}
```

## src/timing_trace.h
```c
#ifndef LAB3_TIMING_TRACE_H
#define LAB3_TIMING_TRACE_H
#include <stdint.h>
/* Same API and index layout as the baseline's timing_trace.h, because the reused
 * baseline timing_probe.c drives index 16. Pins: boards/nucleo_f401re.overlay. */
enum lab3_test_point {
    TP_CAN_RX_A,
    TP_CAN_RX_B,
    TP_CAN_TX_A,
    TP_CAN_TX_B,
    TP_DEG_A,
    TP_DEG_B,
    TP_ERR,
    TP_STEER,
    TP_PWM_SET,
    TP_DIR_A,
    TP_PID,
    TP_FL,
    TP_FR,
    TP_RL,
    TP_RR,
    TP_RELAY_TX,
    TP_TASK_PROBE,
};
int lab3_trace_init(void);
void lab3_trace_toggle(unsigned index);
void lab3_trace_set(unsigned index, int active);
#endif
```

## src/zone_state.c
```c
#include "zone_state.h"
#include <string.h>

void zone_monitor_init(struct zone_monitor *m, uint8_t self, uint32_t now_ms) {
    memset(m, 0, sizeof(*m));
    m->self = self;
    m->traffic_ms[0] = m->traffic_ms[1] = now_ms;
}

void zone_monitor_heartbeat(struct zone_monitor *m, uint8_t zone, unsigned bus, uint32_t now_ms) {
    if (zone == 0 || zone >= ZONE_SLOTS || zone == m->self || bus > 1)
        return;
    m->hb_seen[zone][bus] = true;
    m->hb_ms[zone][bus] = now_ms;
}

void zone_monitor_traffic(struct zone_monitor *m, unsigned bus, uint32_t now_ms) {
    if (bus <= 1)
        m->traffic_ms[bus] = now_ms;
}

void zone_monitor_ctrl(struct zone_monitor *m) { m->ctrl_seen = true; }

static bool fresh(bool seen, uint32_t stamp, uint32_t now, uint32_t limit) {
    return seen && (uint32_t)(now - stamp) < limit;
}

bool zone_monitor_present(const struct zone_monitor *m, uint8_t zone, unsigned bus,
                          uint32_t now_ms) {
    if (zone == 0 || zone >= ZONE_SLOTS || zone == m->self || bus > 1)
        return false;
    return fresh(m->hb_seen[zone][bus], m->hb_ms[zone][bus], now_ms, BUS_SILENT_MS);
}

struct zone_health zone_monitor_evaluate(const struct zone_monitor *m, uint32_t now) {
    struct zone_health h = {0};
    bool all_alive = true, heard = false;
    for (uint8_t zone = 1; zone < ZONE_SLOTS; ++zone) {
        if (zone == m->self)
            continue;
        for (unsigned bus = 0; bus < 2; ++bus) {
            h.alive[zone] |= fresh(m->hb_seen[zone][bus], m->hb_ms[zone][bus], now, ZONE_FAIL_MS);
            heard |= fresh(m->hb_seen[zone][bus], m->hb_ms[zone][bus], now, BUS_SILENT_MS);
        }
        all_alive &= h.alive[zone];
    }
    for (unsigned bus = 0; bus < 2; ++bus)
        h.bus_ok[bus] = fresh(true, m->traffic_ms[bus], now, BUS_SILENT_MS);
    for (unsigned bus = 0; bus < 2; ++bus)
        h.degraded[bus] = !h.bus_ok[bus] && h.bus_ok[bus ^ 1U];
    h.isolated = !heard;
    h.error = m->latched || !all_alive || h.isolated || !m->ctrl_seen;
    return h;
}

uint32_t zone_monitor_next_change_ms(const struct zone_monitor *m, uint32_t now) {
    uint32_t next = UINT32_MAX;
    for (unsigned bus = 0; bus < 2; ++bus) {
        uint32_t age = now - m->traffic_ms[bus];
        if (age < BUS_SILENT_MS && BUS_SILENT_MS - age < next)
            next = BUS_SILENT_MS - age;
    }
    return next;
}
```

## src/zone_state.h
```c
#ifndef LAB3_ZONE_STATE_H
#define LAB3_ZONE_STATE_H
#include <stdbool.h>
#include <stdint.h>

/* Every supervision threshold lives here; pi/zone_state.py mirrors them.
 * R4.5: heartbeat every 20 ms (+/-10 %); a zone fails only after three
 * consecutive missed heartbeats on both buses, 3 x 22 ms = 66 ms at the period
 * limit (the clarification's error chain uses the same 66 ms).
 * R4.7: a bus is degraded after three heartbeat periods (60 ms) without traffic
 * from any other node while the other bus still has traffic; a zone that hears
 * no heartbeat from any other zone on either bus for 60 ms is isolated. */
#define HB_PERIOD_MS 20U
#define ZONE_FAIL_MS 66U
#define BUS_SILENT_MS 60U
/* BLINK arrives at least every 500 ms; older than this, N1 is unreachable. */
#define BLINK_TIMEOUT_MS 750U
#define ZONE_SLOTS 4U /* indexed by zone id 1..3 */

/* Owned by one lock holder per node. Times are wrapping uptime milliseconds. */
struct zone_monitor {
    uint8_t self;
    bool hb_seen[ZONE_SLOTS][2];
    uint32_t hb_ms[ZONE_SLOTS][2];
    uint32_t traffic_ms[2]; /* last frame from any other node; boot time until then */
    bool ctrl_seen;         /* R3: one valid CTRL is needed to leave power-up error */
    /* Test button, bad CTRL or a received FAULT; only a FAULT clear releases it. */
    bool latched;
};

struct zone_health {
    bool alive[ZONE_SLOTS]; /* peer heartbeat within ZONE_FAIL_MS on some bus */
    bool bus_ok[2];         /* traffic within BUS_SILENT_MS; heartbeat health bits */
    bool degraded[2];       /* R4.7 per-bus status LED */
    bool isolated;          /* R4.7: own fail-safe (motor braked, steering held, hazards) */
    bool error;
};

void zone_monitor_init(struct zone_monitor *m, uint8_t self, uint32_t now_ms);
/* Record per bus BEFORE duplicate filtering, or the second bus looks silent. */
void zone_monitor_heartbeat(struct zone_monitor *m, uint8_t zone, unsigned bus, uint32_t now_ms);
/* Any frame received from another node on this bus, valid or not. */
void zone_monitor_traffic(struct zone_monitor *m, unsigned bus, uint32_t now_ms);
/* A valid in-range CTRL arrived. */
void zone_monitor_ctrl(struct zone_monitor *m);
/* Relay gate: true while `zone`'s heartbeat on `bus` is under BUS_SILENT_MS old.
 * N2 forwards only frames whose origin is absent from the destination bus. */
bool zone_monitor_present(const struct zone_monitor *m, uint8_t zone, unsigned bus,
                          uint32_t now_ms);
/* Lab 1 R3 error state: power-up in error; out once both peers are alive on
 * some bus and a valid CTRL has arrived; in on a latch, a failed peer or isolation. */
struct zone_health zone_monitor_evaluate(const struct zone_monitor *m, uint32_t now_ms);
/* Milliseconds until a bus with traffic reaches BUS_SILENT_MS, or UINT32_MAX.
 * Dispatch waits on it so DEG_x lights at exactly 60 ms, not on the next HB_MON. */
uint32_t zone_monitor_next_change_ms(const struct zone_monitor *m, uint32_t now_ms);
#endif
```
